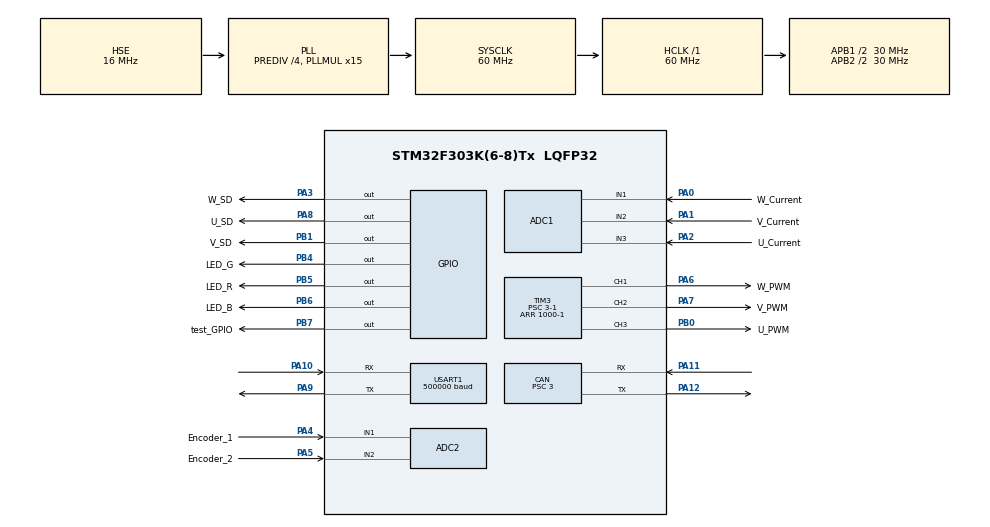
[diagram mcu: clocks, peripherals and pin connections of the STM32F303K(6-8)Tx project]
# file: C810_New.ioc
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ADC1.Channel-0\#ChannelRegularConversion=ADC_CHANNEL_1
ADC1.ContinuousConvMode=DISABLE
ADC1.DMAContinuousRequests=DISABLE
ADC1.NbrOfConversion=1
ADC1.NbrOfConversionFlag=1
ADC1.Offset-0\#ChannelRegularConversion=0
ADC1.OffsetNumber-0\#ChannelRegularConversion=ADC_OFFSET_NONE
ADC1.Rank-0\#ChannelRegularConversion=1
ADC1.SamplingTime-0\#ChannelRegularConversion=ADC_SAMPLETIME_1CYCLE_5
ADC1.SubFamily=STM32F303x8
ADC1.master=1
ADC2.Channel-0\#ChannelRegularConversion=ADC_CHANNEL_1
ADC2.NbrOfConversionFlag=1
ADC2.Offset-0\#ChannelRegularConversion=0
ADC2.OffsetNumber-0\#ChannelRegularConversion=ADC_OFFSET_NONE
ADC2.Rank-0\#ChannelRegularConversion=1
ADC2.SamplingTime-0\#ChannelRegularConversion=ADC_SAMPLETIME_1CYCLE_5
ADC2.SubFamily=STM32F303x8
CAN.BS1=CAN_BS1_7TQ
CAN.BS2=CAN_BS2_2TQ
CAN.CalculateBaudRate=1000000
CAN.CalculateTimeBit=1000
CAN.CalculateTimeQuantum=100.0
CAN.Prescaler=3
Mcu.Family=STM32F3
Mcu.Name=STM32F303K(6-8)Tx
Mcu.Package=LQFP32
NVIC.CAN_RX0_IRQn=true\:0\:0\:false\:false\:true\:true\:true\:true
NVIC.PriorityGroup=NVIC_PRIORITYGROUP_4
NVIC.TIM1_BRK_TIM15_IRQn=true\:0\:0\:false\:false\:true\:true\:true\:true
NVIC.TIM1_CC_IRQn=true\:0\:0\:false\:false\:true\:true\:true\:true
NVIC.TIM1_TRG_COM_TIM17_IRQn=true\:0\:0\:false\:false\:true\:true\:true\:true
NVIC.TIM1_UP_TIM16_IRQn=true\:0\:0\:false\:false\:true\:true\:true\:true
NVIC.TIM2_IRQn=true\:0\:0\:false\:false\:true\:true\:true\:true
PA0.GPIO_Label=W_Current
PA0.Mode=IN1-Single-Ended
PA0.Signal=ADC1_IN1
PA1.GPIO_Label=V_Current
PA1.Mode=IN2-Single-Ended
PA1.Signal=ADC1_IN2
PA10.Mode=Asynchronous
PA10.Signal=USART1_RX
PA11.Mode=CAN_Activate
PA11.Signal=CAN_RX
PA12.Mode=CAN_Activate
PA12.Signal=CAN_TX
PA13.Mode=Trace_Asynchronous_SW
PA13.Signal=SYS_JTMS-SWDIO
PA14.Mode=Trace_Asynchronous_SW
PA14.Signal=SYS_JTCK-SWCLK
PA2.GPIO_Label=U_Current
PA2.Mode=IN3-Single-Ended
PA2.Signal=ADC1_IN3
PA3.GPIO_Label=W_SD
PA3.Signal=GPIO_Output
PA4.GPIO_Label=Encoder_1
PA4.Mode=IN1-Single-Ended
PA4.Signal=ADC2_IN1
PA5.GPIO_Label=Encoder_2
PA5.Mode=IN2-Single-Ended
PA5.Signal=ADC2_IN2
PA6.GPIO_Label=W_PWM
PA6.Signal=S_TIM3_CH1
PA7.GPIO_Label=V_PWM
PA7.Signal=S_TIM3_CH2
PA8.GPIO_Label=U_SD
PA8.Signal=GPIO_Output
PA9.Mode=Asynchronous
PA9.Signal=USART1_TX
PB0.GPIO_Label=U_PWM
PB0.Signal=S_TIM3_CH3
PB1.GPIO_Label=V_SD
PB1.Signal=GPIO_Output
PB3.Mode=Trace_Asynchronous_SW
PB3.Signal=SYS_JTDO-TRACESWO
PB4.GPIO_Label=LED_G
PB4.Signal=GPIO_Output
PB5.GPIO_Label=LED_R
PB5.Signal=GPIO_Output
PB6.GPIO_Label=LED_B
PB6.Signal=GPIO_Output
PB7.GPIO_Label=test_GPIO
PB7.Signal=GPIO_Output
PF0\ /\ OSC_IN.Mode=HSE-External-Oscillator
PF0\ /\ OSC_IN.Signal=RCC_OSC_IN
PF1\ /\ OSC_OUT.Mode=HSE-External-Oscillator
PF1\ /\ OSC_OUT.Signal=RCC_OSC_OUT
ProjectManager.HeapSize=0x200
ProjectManager.StackSize=0x400
ProjectManager.TargetToolchain=STM32CubeIDE
RCC.AHBFreq_Value=60000000
RCC.APB1CLKDivider=RCC_HCLK_DIV2
RCC.APB1Freq_Value=30000000
RCC.APB1TimFreq_Value=60000000
RCC.APB2CLKDivider=RCC_HCLK_DIV2
RCC.APB2Freq_Value=30000000
RCC.APB2TimFreq_Value=60000000
RCC.CortexFreq_Value=60000000
RCC.HCLKFreq_Value=60000000
RCC.HSE_VALUE=16000000
RCC.HSI_VALUE=8000000
RCC.PLLMUL=RCC_PLL_MUL15
RCC.PLLSourceVirtual=RCC_PLLSOURCE_HSE
RCC.RCC_PLLsource_Clock_Source_FROM_HSE=RCC_HSE_PREDIV_DIV4
RCC.SYSCLKFreq_VALUE=60000000
RCC.SYSCLKSourceVirtual=RCC_SYSCLKSOURCE_PLLCLK
SH.S_TIM3_CH1.0=TIM3_CH1,PWM Generation1 CH1
SH.S_TIM3_CH2.0=TIM3_CH2,PWM Generation2 CH2
SH.S_TIM3_CH3.0=TIM3_CH3,PWM Generation3 CH3
TIM1.Period=1000-1
TIM1.Prescaler=6000-1
TIM2.Period=1000-1
TIM2.Prescaler=6-1
TIM3.Channel-PWM\ Generation1\ CH1=TIM_CHANNEL_1
TIM3.Channel-PWM\ Generation2\ CH2=TIM_CHANNEL_2
TIM3.Channel-PWM\ Generation3\ CH3=TIM_CHANNEL_3
TIM3.Period=1000-1
TIM3.Prescaler=3-1
USART1.BaudRate=500000
USART1.VirtualMode-Asynchronous=VM_ASYNC
VP_TIM1_VS_ClockSourceINT.Mode=Internal
VP_TIM2_VS_ClockSourceINT.Mode=Internal
VP_TIM3_VS_ClockSourceINT.Mode=Internal
board=custom

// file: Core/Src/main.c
/* USER CODE BEGIN Header */
/**
  ******************************************************************************
  * @file           : main.c
  * @brief          : Main program body
  ******************************************************************************
  * @attention
  *
  * Copyright (c) 2025 STMicroelectronics.
  * All rights reserved.
  *
  * This software is licensed under terms that can be found in the LICENSE file
  * in the root directory of this software component.
  * If no LICENSE file comes with this software, it is provided AS-IS.
  *
  ******************************************************************************
  */
/* USER CODE END Header */
#include "main.h"

/* USER CODE BEGIN Includes */

#include "stdio.h"
#include "math.h"
#include "stdlib.h"
#include "stdbool.h"
#include "string.h"

/* USER CODE END Includes */

/* USER CODE BEGIN PTD */

ADC_ChannelConfTypeDef ADC1_Config = {0};
ADC_ChannelConfTypeDef ADC2_Config = {0};

typedef struct PI_value{
	float kp;
	float ki;
	float goal;
	float now_value;
	float error;
	float error_integral;
	float integral_limit;
}PI_t;

/* USER CODE END PTD */

/* USER CODE BEGIN PD */

//PWMの使用タイマ
#define MOTOR_PWM_TIMER htim3
//各チャンネル
#define U_PHASE_PWM_CHANNEL TIM_CHANNEL_3
#define V_PHASE_PWM_CHANNEL TIM_CHANNEL_2
#define W_PHASE_PWM_CHANNEL TIM_CHANNEL_1

//PWM出力関数
#define SET_PWM_DUTY(PHASE, DUTY) __HAL_TIM_SET_COMPARE(&MOTOR_PWM_TIMER, PHASE##_PHASE_PWM_CHANNEL, DUTY)

// PI 定数
#define PI 3.14159265f

/* USER CODE END PD */

ADC_HandleTypeDef hadc1;
ADC_HandleTypeDef hadc2;

CAN_HandleTypeDef hcan;

TIM_HandleTypeDef htim1;
TIM_HandleTypeDef htim2;
TIM_HandleTypeDef htim3;

UART_HandleTypeDef huart1;

/* USER CODE BEGIN PV */

//制御周期生成用フラグ
volatile bool tim2_intrupt_flag = false;
volatile bool tim1_intrupt_flag = false;

/*	強制転流用変数		*/
//#define sin_num 1000
//
//float sin_table[sin_num] = {0};
//
//float one_step = 0.0;
//int loop_count = 0;
//#define max_duty 530
//#define min_duty 470

/*	センサ用変数	*/
float ADC_sin = 0.0; //max:1.597216 min:0.382784
float ADC_cos = 0.0; //max:1.619780 min:0.355385

float ADC_sin_max = 1.597216;
float ADC_sin_min = 0.382784;
float ADC_cos_max = 1.619780;
float ADC_cos_min = 0.355385;

//float ADC_sin_max = 0.0;
//float ADC_sin_min = 3.3;
//float ADC_cos_max = 0.0;
//float ADC_cos_min = 3.3;

//現在の電流センサからの電圧値
uint16_t U_voltage = 0;
uint16_t V_voltage = 0;
uint16_t W_voltage = 0;

//初期化時の電流センサからの電圧値
uint32_t U_voltage_init = 0;
uint32_t V_voltage_init = 0;
uint32_t W_voltage_init = 0;

//現在の電流値
float U_Current_now = 0.0;
float V_Current_now = 0.0;
float W_Current_now = 0.0;

/*	移動平均用の変数	*/
#define sample_num 2	//移動平均のサンプル数

//サンプル値の格納配列
float U_Current_samples[sample_num] = {0};
float V_Current_samples[sample_num] = {0};
float W_Current_samples[sample_num] = {0};

//サンプル値の総和
float U_Current_sum = 0.0;
float V_Current_sum = 0.0;
float W_Current_sum = 0.0;

//サンプル値の平均
float U_Current_ave = 0.0;
float V_Current_ave = 0.0;
float W_Current_ave = 0.0;

//リアル値
float U_Current_real = 0.0;
float V_Current_real = 0.0;
float W_Current_real = 0.0;

//合計の電流値
float Current_SUM = 0.0;

/* ベクトル制御用変数 */
//dq電流
float Id = 0.0;
float Iq = 0.0;

//αβ電流
float Ia = 0.0;
float Ib = 0.0;

//dq電圧
float Vd = 0.0;
float Vq = 0.0;

//αβ電圧
float Va = 0.0;
float Vb = 0.0;

//PWM
int U_PWM = 0;
int V_PWM = 0;
int W_PWM = 0;

//PI制御用構造体
PI_t Id_PI;
PI_t Iq_PI;

/* USER CODE END PV */

void SystemClock_Config(void);
static void MX_GPIO_Init(void);
static void MX_ADC1_Init(void);
static void MX_ADC2_Init(void);
static void MX_CAN_Init(void);
static void MX_TIM3_Init(void);
static void MX_USART1_UART_Init(void);
static void MX_TIM2_Init(void);
static void MX_TIM1_Init(void);

/* USER CODE BEGIN 0 */

//mapf関数
float mapf(float x, float in_min, float in_max, float out_min, float out_max) {
	return((x - in_min) * (out_max - out_min) / (in_max - in_min) + out_min);
}

//sinテーブルを生成
//void sin_table_generate(){
//	//1要素あたりに進むラジアン角を計算
//	one_step = (2 * PI) / sin_num;
//
//	//サインテーブルを生成
//	for(int i = 0; i < sin_num; i++){
//		sin_table[i] = sinf(i * one_step);
//	}
//
//}

//clarke変換
void clarke_transform(){
	Ia = U_Current_real;
	Ib = (U_Current_real + 2 * V_Current_real) / sqrtf(3.0);
}

//park変換
void park_transform(){
	Id = Ia * ADC_cos + Ib * ADC_sin;
	Iq = -Ia * ADC_sin + Ib * ADC_cos;

	Id_PI.now_value = Id;
	Iq_PI.now_value = Iq;
}

//逆clarke変換
void inv_clarke_transform(){
	U_PWM = (int)Va;
	V_PWM = (int)((sqrtf(3.0) * Vb - Va) / 2);
	W_PWM = (int)((-sqrtf(3.0) * Vb - Va) / 2);
}

//逆park変換
void inv_park_transform(){
	Va = Vd * ADC_cos - Vq * ADC_sin;
	Vb = Vd * ADC_sin + Vq * ADC_cos;
}

//PI制御
float PI_Control(PI_t *hPI){
	hPI->error = hPI->goal - hPI->now_value;
	hPI->error_integral += hPI->error;

	if(hPI->ki != 0){
		if(hPI->error_integral * hPI->ki > hPI->integral_limit){
			hPI->error_integral = hPI->integral_limit / hPI->ki;
		}
		else if(hPI->error_integral * hPI->ki < -hPI->integral_limit){
			hPI->error_integral = -hPI->integral_limit / hPI->ki;
		}
	}

	return (hPI->kp * hPI->error + hPI->ki * hPI->error_integral);
}

//初期化時の電流センサの出力電圧を計算
void init_voltage_sensing(){
	for(int i = 0; i < 30; i++){
		//U相の電流値を取得
		ADC1_Config.Channel = ADC_CHANNEL_3;
		HAL_ADC_ConfigChannel(&hadc1, &ADC1_Config);
		HAL_ADC_Start(&hadc1);
		HAL_ADC_PollForConversion(&hadc1, 10);
		U_voltage_init += HAL_ADC_GetValue(&hadc1);
		HAL_ADC_Stop(&hadc1);

		//V相の電流値を取得
		ADC1_Config.Channel = ADC_CHANNEL_2;
		HAL_ADC_ConfigChannel(&hadc1, &ADC1_Config);
		HAL_ADC_Start(&hadc1);
		HAL_ADC_PollForConversion(&hadc1, 10);
		V_voltage_init += HAL_ADC_GetValue(&hadc1);
		HAL_ADC_Stop(&hadc1);

		//W相の電流値を取得
		ADC1_Config.Channel = ADC_CHANNEL_1;
		HAL_ADC_ConfigChannel(&hadc1, &ADC1_Config);
		HAL_ADC_Start(&hadc1);
		HAL_ADC_PollForConversion(&hadc1, 10);
		W_voltage_init += HAL_ADC_GetValue(&hadc1);
		HAL_ADC_Stop(&hadc1);
	}

	U_voltage_init = U_voltage_init / 30;
	V_voltage_init = V_voltage_init / 30;
	W_voltage_init = W_voltage_init / 30;
}

//各相の電流を計算
void current_sensing(){
	//U相の電流値を取得
	ADC1_Config.Channel = ADC_CHANNEL_3;
	HAL_ADC_ConfigChannel(&hadc1, &ADC1_Config);
	HAL_ADC_Start(&hadc1);
	HAL_ADC_PollForConversion(&hadc1, 10);
	U_voltage = HAL_ADC_GetValue(&hadc1);
	HAL_ADC_Stop(&hadc1);

	//V相の電流値を取得
	ADC1_Config.Channel = ADC_CHANNEL_2;
	HAL_ADC_ConfigChannel(&hadc1, &ADC1_Config);
	HAL_ADC_Start(&hadc1);
	HAL_ADC_PollForConversion(&hadc1, 10);
	V_voltage = HAL_ADC_GetValue(&hadc1);
	HAL_ADC_Stop(&hadc1);

	//W相の電流値を取得
	ADC1_Config.Channel = ADC_CHANNEL_1;
	HAL_ADC_ConfigChannel(&hadc1, &ADC1_Config);
	HAL_ADC_Start(&hadc1);
	HAL_ADC_PollForConversion(&hadc1, 10);
	W_voltage = HAL_ADC_GetValue(&hadc1);
	HAL_ADC_Stop(&hadc1);

	//現在の電流値を算出
	U_Current_now = (((float)U_voltage - (float)U_voltage_init) * (3.3/4095)) / 0.05;
	V_Current_now = (((float)V_voltage - (float)V_voltage_init) * (3.3/4095)) / 0.05;
	W_Current_now = (((float)W_voltage - (float)W_voltage_init) * (3.3/4095)) / 0.05;

	/*	移動平均を計算	  */

	//サンプルの値を一つずらす
	for(int i = 0; i < sample_num-1; i++){
	  U_Current_samples[i] = U_Current_samples[i + 1];
	  V_Current_samples[i] = V_Current_samples[i + 1];
	  W_Current_samples[i] = W_Current_samples[i + 1];
	}

	//新しい値(現在の電流値)を最新の値として代入
	U_Current_samples[sample_num - 1] = U_Current_now;
	V_Current_samples[sample_num - 1] = V_Current_now;
	W_Current_samples[sample_num - 1] = W_Current_now;

	//サンプルの総和を初期化
	U_Current_sum = 0;
	V_Current_sum = 0;
	W_Current_sum = 0;

	//サンプルの総和を計算
	for(int i = 0; i < sample_num; i++){
	  U_Current_sum += U_Current_samples[i];
	  V_Current_sum += V_Current_samples[i];
	  W_Current_sum += W_Current_samples[i];
	}

	//サンプル内の平均値を計算
	U_Current_ave = U_Current_sum / sample_num;
	V_Current_ave = V_Current_sum / sample_num;
	W_Current_ave = W_Current_sum / sample_num;

	//移動平均の結果のUVWの総和電流を3相ブリッジに流れ込む電流の現在値として計算
	Current_SUM = U_Current_ave + V_Current_ave + W_Current_ave;

	//3総電流を導出
	U_Current_real = U_Current_ave;
	V_Current_real = V_Current_ave;
//	W_Current_real = -U_Current_real - V_Current_real;
	W_Current_real = W_Current_ave;

}

//電気角の取得
void degree_sensing(){
	//電気角(sin)の値を取得
	ADC2_Config.Channel = ADC_CHANNEL_1;
	HAL_ADC_ConfigChannel(&hadc2, &ADC2_Config);
	HAL_ADC_Start(&hadc2);
	HAL_ADC_PollForConversion(&hadc2, 10);
	ADC_sin = HAL_ADC_GetValue(&hadc2);
	HAL_ADC_Stop(&hadc2);

	//電気角(cos)の値を取得
	ADC2_Config.Channel = ADC_CHANNEL_2;
	HAL_ADC_ConfigChannel(&hadc2, &ADC2_Config);
	HAL_ADC_Start(&hadc2);
	HAL_ADC_PollForConversion(&hadc2, 10);
	ADC_cos = HAL_ADC_GetValue(&hadc2);
	HAL_ADC_Stop(&hadc2);

	ADC_sin = mapf(ADC_sin, 0, 4095, 0, 3.3);
	ADC_cos = mapf(ADC_cos, 0, 4095, 0, 3.3);

	ADC_sin = (ADC_sin - ADC_sin_min - (ADC_sin_max - ADC_sin_min)/2) / ((ADC_sin_max - ADC_sin_min)/2);
	ADC_cos = (ADC_cos - ADC_cos_min - (ADC_cos_max - ADC_cos_min)/2) / ((ADC_cos_max - ADC_cos_min)/2);

	/*  エンコーダーのmax,min測定用	 */
//	if(ADC_sin_max < ADC_sin){
//		ADC_sin_max = ADC_sin;
//	}
//
//	if(ADC_sin_min > ADC_sin){
//		ADC_sin_min = ADC_sin;
//	}
//
//	if(ADC_cos_max < ADC_cos){
//		ADC_cos_max = ADC_cos;
//	}
//
//	if(ADC_cos_min > ADC_cos){
//		ADC_cos_min = ADC_cos;
//	}
}

//タイマ割り込み関数
void HAL_TIM_PeriodElapsedCallback(TIM_HandleTypeDef *htim)
{
    if (htim == &htim2){
    	tim2_intrupt_flag = true;
    }

    if(htim == &htim1){
    	tim1_intrupt_flag = true;
    }
}

//printfの中身
int _write(int file, char *ptr, int len)
{
  HAL_UART_Transmit(&huart1,(uint8_t *)ptr,len,10);
  return len;
}

/* USER CODE END 0 */

int main(void)
{

  /* USER CODE BEGIN 1 */
  setbuf(stdout, NULL);
  /* USER CODE END 1 */

  /* MCU Configuration--------------------------------------------------------*/

  /* Reset of all peripherals, Initializes the Flash interface and the Systick. */
  HAL_Init();

  /* Configure the system clock */
  SystemClock_Config();

  /* Initialize all configured peripherals */
  MX_GPIO_Init();
  MX_ADC1_Init();
  MX_ADC2_Init();
  MX_CAN_Init();
  MX_TIM3_Init();
  MX_USART1_UART_Init();
  MX_TIM2_Init();
  MX_TIM1_Init();
  /* USER CODE BEGIN 2 */

  //ADCキャリブレーション
  HAL_ADCEx_Calibration_Start(&hadc1, ADC_SINGLE_ENDED);
  HAL_ADCEx_Calibration_Start(&hadc2, ADC_SINGLE_ENDED);

  //タイマ割り込みスタート
  HAL_TIM_Base_Start_IT(&htim2);
  HAL_TIM_Base_Start_IT(&htim1);

  //タイマースタート
  HAL_TIM_PWM_Start(&MOTOR_PWM_TIMER, U_PHASE_PWM_CHANNEL);
  HAL_TIM_PWM_Start(&MOTOR_PWM_TIMER, V_PHASE_PWM_CHANNEL);
  HAL_TIM_PWM_Start(&MOTOR_PWM_TIMER, W_PHASE_PWM_CHANNEL);

  //IR2302のShutDownを解除
  HAL_GPIO_WritePin(U_SD_GPIO_Port, U_SD_Pin, SET);
  HAL_GPIO_WritePin(V_SD_GPIO_Port, V_SD_Pin, SET);
  HAL_GPIO_WritePin(W_SD_GPIO_Port, W_SD_Pin, SET);

  //すべてのDuty比を0.5に
  SET_PWM_DUTY(U, 500);
  SET_PWM_DUTY(V, 500);
  SET_PWM_DUTY(W, 500);

  //ADCの初期値を取得
  init_voltage_sensing();

  //d軸電流のパラメータを設定
  Id_PI.goal = 0.0;
  Id_PI.kp = 0.5;
  Id_PI.ki = 0.1;
  Id_PI.integral_limit = 100;

  //q軸電流のパラメータを設定
  Iq_PI.goal = 1.0;
  Iq_PI.kp = 0.5;
  Iq_PI.ki = 0.1;
  Iq_PI.integral_limit = 100;

  /* USER CODE END 2 */

  /* Infinite loop */
  while (1)
  {

    /* USER CODE BEGIN 3 */
	  if(tim2_intrupt_flag){
		  //M2006から角度取得
		  degree_sensing();
		  //Iu,Iv,Iwを計測
		  current_sensing();
		  //Iu,Iv,Iw -> Iα,Iβ
		  clarke_transform();
		  //Iα,Iβ -> Id,Iq
		  park_transform();

		  //Id,IqをPI制御
		  Vd = PI_Control(&Id_PI);
		  Vq = PI_Control(&Iq_PI);

		  //Vd,Vq -> Vα,Vβ
		  inv_park_transform();
		  //Vα,Vβ -> Iu,Iv,Iw
		  inv_clarke_transform();

		  //PWMをセット
		  SET_PWM_DUTY(U, 500 + U_PWM);
		  SET_PWM_DUTY(V, 500 + V_PWM);
		  SET_PWM_DUTY(W, 500 + W_PWM);
//		  printf("sin:%f cos:%f\r\n", ADC_sin, ADC_cos);

		  //割り込みのフラグをリセット
		  tim2_intrupt_flag = false;
	  }

	  if(tim1_intrupt_flag){
//		  Iq_PI.goal = Iq_PI.goal * -1;
//		  printf("Id:%.2f Iq:%.2f\r\n", Id, Iq);

		  //割り込みのフラグをリセット
		  tim1_intrupt_flag = false;
	  }

	  if(2 > Iq){
		  HAL_GPIO_WritePin(LED_R_GPIO_Port, LED_R_Pin, RESET);
		  HAL_GPIO_WritePin(LED_G_GPIO_Port, LED_G_Pin, RESET);
		  HAL_GPIO_WritePin(LED_B_GPIO_Port, LED_B_Pin, SET);
	  }

	  if(5 > Iq && Iq > 3){
		  HAL_GPIO_WritePin(LED_R_GPIO_Port, LED_R_Pin, SET);
		  HAL_GPIO_WritePin(LED_G_GPIO_Port, LED_G_Pin, SET);
		  HAL_GPIO_WritePin(LED_B_GPIO_Port, LED_B_Pin, RESET);
	  }

	  if(Iq > 5){
		  HAL_GPIO_WritePin(LED_R_GPIO_Port, LED_R_Pin, SET);
		  HAL_GPIO_WritePin(LED_G_GPIO_Port, LED_G_Pin, RESET);
		  HAL_GPIO_WritePin(LED_B_GPIO_Port, LED_B_Pin, RESET);
	  }

//	  printf("sin:%f cos:%f\r\n", ADC_sin, ADC_cos);
//	  printf("U:%f V:%f W:%f\r\n", U_Current_real, V_Current_real, W_Current_real);
//	  printf("U:%f V:%f W:%f\r\n", U_Current_now, V_Current_now, W_Current_now);
//	  printf("%d %d %d \r\n", U_voltage_init, V_voltage_init, W_voltage_init);
//	  printf("%f\r\n", Current_SUM);
//	  printf("Id:%f Iq:%f\r\n", Id, Iq);
//	  U_PWM = (int)(mapf(sin_table[(int)(loop_count%sin_num)], -1.0, 1.0, min_duty, max_duty));
//	  V_PWM = (int)(mapf(sin_table[(int)((loop_count + sin_num / 3)%(sin_num))], -1.0, 1.0, min_duty, max_duty));
//	  W_PWM = (int)(mapf(sin_table[(int)((loop_count + (sin_num * 2) / 3)%(sin_num))], -1.0, 1.0, min_duty, max_duty));

//	  SET_PWM_DUTY(U, U_PWM);
//	  SET_PWM_DUTY(V, V_PWM);
//	  SET_PWM_DUTY(W, W_PWM);
//	  loop_count = loop_count + 10;
  }
  /* USER CODE END 3 */
}

void SystemClock_Config(void)
{
  RCC_OscInitTypeDef RCC_OscInitStruct = {0};
  RCC_ClkInitTypeDef RCC_ClkInitStruct = {0};
  RCC_PeriphCLKInitTypeDef PeriphClkInit = {0};

  /** Initializes the RCC Oscillators according to the specified parameters
  * in the RCC_OscInitTypeDef structure.
  */
  RCC_OscInitStruct.OscillatorType = RCC_OSCILLATORTYPE_HSE;
  RCC_OscInitStruct.HSEState = RCC_HSE_ON;
  RCC_OscInitStruct.HSEPredivValue = RCC_HSE_PREDIV_DIV4;
  RCC_OscInitStruct.HSIState = RCC_HSI_ON;
  RCC_OscInitStruct.PLL.PLLState = RCC_PLL_ON;
  RCC_OscInitStruct.PLL.PLLSource = RCC_PLLSOURCE_HSE;
  RCC_OscInitStruct.PLL.PLLMUL = RCC_PLL_MUL15;
  if (HAL_RCC_OscConfig(&RCC_OscInitStruct) != HAL_OK)
  {
    Error_Handler();
  }

  /** Initializes the CPU, AHB and APB buses clocks
  */
  RCC_ClkInitStruct.ClockType = RCC_CLOCKTYPE_HCLK|RCC_CLOCKTYPE_SYSCLK
                              |RCC_CLOCKTYPE_PCLK1|RCC_CLOCKTYPE_PCLK2;
  RCC_ClkInitStruct.SYSCLKSource = RCC_SYSCLKSOURCE_PLLCLK;
  RCC_ClkInitStruct.AHBCLKDivider = RCC_SYSCLK_DIV1;
  RCC_ClkInitStruct.APB1CLKDivider = RCC_HCLK_DIV2;
  RCC_ClkInitStruct.APB2CLKDivider = RCC_HCLK_DIV2;

  if (HAL_RCC_ClockConfig(&RCC_ClkInitStruct, FLASH_LATENCY_2) != HAL_OK)
  {
    Error_Handler();
  }
  PeriphClkInit.PeriphClockSelection = RCC_PERIPHCLK_USART1|RCC_PERIPHCLK_TIM1
                              |RCC_PERIPHCLK_ADC12;
  PeriphClkInit.Usart1ClockSelection = RCC_USART1CLKSOURCE_PCLK1;
  PeriphClkInit.Adc12ClockSelection = RCC_ADC12PLLCLK_DIV1;
  PeriphClkInit.Tim1ClockSelection = RCC_TIM1CLK_HCLK;
  if (HAL_RCCEx_PeriphCLKConfig(&PeriphClkInit) != HAL_OK)
  {
    Error_Handler();
  }
}

static void MX_ADC1_Init(void)
{

  ADC_MultiModeTypeDef multimode = {0};
  ADC_ChannelConfTypeDef sConfig = {0};

  /** Common config
  */
  hadc1.Instance = ADC1;
  hadc1.Init.ClockPrescaler = ADC_CLOCK_ASYNC_DIV1;
  hadc1.Init.Resolution = ADC_RESOLUTION_12B;
  hadc1.Init.ScanConvMode = ADC_SCAN_DISABLE;
  hadc1.Init.ContinuousConvMode = DISABLE;
  hadc1.Init.DiscontinuousConvMode = DISABLE;
  hadc1.Init.ExternalTrigConvEdge = ADC_EXTERNALTRIGCONVEDGE_NONE;
  hadc1.Init.ExternalTrigConv = ADC_SOFTWARE_START;
  hadc1.Init.DataAlign = ADC_DATAALIGN_RIGHT;
  hadc1.Init.NbrOfConversion = 1;
  hadc1.Init.DMAContinuousRequests = DISABLE;
  hadc1.Init.EOCSelection = ADC_EOC_SINGLE_CONV;
  hadc1.Init.LowPowerAutoWait = DISABLE;
  hadc1.Init.Overrun = ADC_OVR_DATA_OVERWRITTEN;
  if (HAL_ADC_Init(&hadc1) != HAL_OK)
  {
    Error_Handler();
  }

  /** Configure the ADC multi-mode
  */
  multimode.Mode = ADC_MODE_INDEPENDENT;
  if (HAL_ADCEx_MultiModeConfigChannel(&hadc1, &multimode) != HAL_OK)
  {
    Error_Handler();
  }

  /** Configure Regular Channel
  */
  sConfig.Channel = ADC_CHANNEL_1;
  sConfig.Rank = ADC_REGULAR_RANK_1;
  sConfig.SingleDiff = ADC_SINGLE_ENDED;
  sConfig.SamplingTime = ADC_SAMPLETIME_1CYCLE_5;
  sConfig.OffsetNumber = ADC_OFFSET_NONE;
  sConfig.Offset = 0;
  if (HAL_ADC_ConfigChannel(&hadc1, &sConfig) != HAL_OK)
  {
    Error_Handler();
  }
  /* USER CODE BEGIN ADC1_Init 2 */
  ADC1_Config = sConfig;
  /* USER CODE END ADC1_Init 2 */

}

static void MX_ADC2_Init(void)
{

  ADC_ChannelConfTypeDef sConfig = {0};

  /** Common config
  */
  hadc2.Instance = ADC2;
  hadc2.Init.ClockPrescaler = ADC_CLOCK_ASYNC_DIV1;
  hadc2.Init.Resolution = ADC_RESOLUTION_12B;
  hadc2.Init.ScanConvMode = ADC_SCAN_DISABLE;
  hadc2.Init.ContinuousConvMode = DISABLE;
  hadc2.Init.DiscontinuousConvMode = DISABLE;
  hadc2.Init.ExternalTrigConvEdge = ADC_EXTERNALTRIGCONVEDGE_NONE;
  hadc2.Init.ExternalTrigConv = ADC_SOFTWARE_START;
  hadc2.Init.DataAlign = ADC_DATAALIGN_RIGHT;
  hadc2.Init.NbrOfConversion = 1;
  hadc2.Init.DMAContinuousRequests = DISABLE;
  hadc2.Init.EOCSelection = ADC_EOC_SINGLE_CONV;
  hadc2.Init.LowPowerAutoWait = DISABLE;
  hadc2.Init.Overrun = ADC_OVR_DATA_OVERWRITTEN;
  if (HAL_ADC_Init(&hadc2) != HAL_OK)
  {
    Error_Handler();
  }

  /** Configure Regular Channel
  */
  sConfig.Channel = ADC_CHANNEL_1;
  sConfig.Rank = ADC_REGULAR_RANK_1;
  sConfig.SingleDiff = ADC_SINGLE_ENDED;
  sConfig.SamplingTime = ADC_SAMPLETIME_1CYCLE_5;
  sConfig.OffsetNumber = ADC_OFFSET_NONE;
  sConfig.Offset = 0;
  if (HAL_ADC_ConfigChannel(&hadc2, &sConfig) != HAL_OK)
  {
    Error_Handler();
  }
  /* USER CODE BEGIN ADC2_Init 2 */
  ADC2_Config = sConfig;
  /* USER CODE END ADC2_Init 2 */

}

static void MX_CAN_Init(void)
{

  hcan.Instance = CAN;
  hcan.Init.Prescaler = 3;
  hcan.Init.Mode = CAN_MODE_NORMAL;
  hcan.Init.SyncJumpWidth = CAN_SJW_1TQ;
  hcan.Init.TimeSeg1 = CAN_BS1_7TQ;
  hcan.Init.TimeSeg2 = CAN_BS2_2TQ;
  hcan.Init.TimeTriggeredMode = DISABLE;
  hcan.Init.AutoBusOff = DISABLE;
  hcan.Init.AutoWakeUp = DISABLE;
  hcan.Init.AutoRetransmission = DISABLE;
  hcan.Init.ReceiveFifoLocked = DISABLE;
  hcan.Init.TransmitFifoPriority = DISABLE;
  if (HAL_CAN_Init(&hcan) != HAL_OK)
  {
    Error_Handler();
  }

}

static void MX_TIM1_Init(void)
{

  TIM_ClockConfigTypeDef sClockSourceConfig = {0};
  TIM_MasterConfigTypeDef sMasterConfig = {0};

  htim1.Instance = TIM1;
  htim1.Init.Prescaler = 6000-1;
  htim1.Init.CounterMode = TIM_COUNTERMODE_UP;
  htim1.Init.Period = 1000-1;
  htim1.Init.ClockDivision = TIM_CLOCKDIVISION_DIV1;
  htim1.Init.RepetitionCounter = 0;
  htim1.Init.AutoReloadPreload = TIM_AUTORELOAD_PRELOAD_DISABLE;
  if (HAL_TIM_Base_Init(&htim1) != HAL_OK)
  {
    Error_Handler();
  }
  sClockSourceConfig.ClockSource = TIM_CLOCKSOURCE_INTERNAL;
  if (HAL_TIM_ConfigClockSource(&htim1, &sClockSourceConfig) != HAL_OK)
  {
    Error_Handler();
  }
  sMasterConfig.MasterOutputTrigger = TIM_TRGO_RESET;
  sMasterConfig.MasterOutputTrigger2 = TIM_TRGO2_RESET;
  sMasterConfig.MasterSlaveMode = TIM_MASTERSLAVEMODE_DISABLE;
  if (HAL_TIMEx_MasterConfigSynchronization(&htim1, &sMasterConfig) != HAL_OK)
  {
    Error_Handler();
  }

}

static void MX_TIM2_Init(void)
{

  TIM_ClockConfigTypeDef sClockSourceConfig = {0};
  TIM_MasterConfigTypeDef sMasterConfig = {0};

  htim2.Instance = TIM2;
  htim2.Init.Prescaler = 6-1;
  htim2.Init.CounterMode = TIM_COUNTERMODE_UP;
  htim2.Init.Period = 1000-1;
  htim2.Init.ClockDivision = TIM_CLOCKDIVISION_DIV1;
  htim2.Init.AutoReloadPreload = TIM_AUTORELOAD_PRELOAD_DISABLE;
  if (HAL_TIM_Base_Init(&htim2) != HAL_OK)
  {
    Error_Handler();
  }
  sClockSourceConfig.ClockSource = TIM_CLOCKSOURCE_INTERNAL;
  if (HAL_TIM_ConfigClockSource(&htim2, &sClockSourceConfig) != HAL_OK)
  {
    Error_Handler();
  }
  sMasterConfig.MasterOutputTrigger = TIM_TRGO_RESET;
  sMasterConfig.MasterSlaveMode = TIM_MASTERSLAVEMODE_DISABLE;
  if (HAL_TIMEx_MasterConfigSynchronization(&htim2, &sMasterConfig) != HAL_OK)
  {
    Error_Handler();
  }

}

static void MX_TIM3_Init(void)
{

  TIM_ClockConfigTypeDef sClockSourceConfig = {0};
  TIM_MasterConfigTypeDef sMasterConfig = {0};
  TIM_OC_InitTypeDef sConfigOC = {0};

  htim3.Instance = TIM3;
  htim3.Init.Prescaler = 3-1;
  htim3.Init.CounterMode = TIM_COUNTERMODE_UP;
  htim3.Init.Period = 1000-1;
  htim3.Init.ClockDivision = TIM_CLOCKDIVISION_DIV1;
  htim3.Init.AutoReloadPreload = TIM_AUTORELOAD_PRELOAD_DISABLE;
  if (HAL_TIM_Base_Init(&htim3) != HAL_OK)
  {
    Error_Handler();
  }
  sClockSourceConfig.ClockSource = TIM_CLOCKSOURCE_INTERNAL;
  if (HAL_TIM_ConfigClockSource(&htim3, &sClockSourceConfig) != HAL_OK)
  {
    Error_Handler();
  }
  if (HAL_TIM_PWM_Init(&htim3) != HAL_OK)
  {
    Error_Handler();
  }
  sMasterConfig.MasterOutputTrigger = TIM_TRGO_RESET;
  sMasterConfig.MasterSlaveMode = TIM_MASTERSLAVEMODE_DISABLE;
  if (HAL_TIMEx_MasterConfigSynchronization(&htim3, &sMasterConfig) != HAL_OK)
  {
    Error_Handler();
  }
  sConfigOC.OCMode = TIM_OCMODE_PWM1;
  sConfigOC.Pulse = 0;
  sConfigOC.OCPolarity = TIM_OCPOLARITY_HIGH;
  sConfigOC.OCFastMode = TIM_OCFAST_DISABLE;
  if (HAL_TIM_PWM_ConfigChannel(&htim3, &sConfigOC, TIM_CHANNEL_1) != HAL_OK)
  {
    Error_Handler();
  }
  if (HAL_TIM_PWM_ConfigChannel(&htim3, &sConfigOC, TIM_CHANNEL_2) != HAL_OK)
  {
    Error_Handler();
  }
  if (HAL_TIM_PWM_ConfigChannel(&htim3, &sConfigOC, TIM_CHANNEL_3) != HAL_OK)
  {
    Error_Handler();
  }
  HAL_TIM_MspPostInit(&htim3);

}

static void MX_USART1_UART_Init(void)
{

  huart1.Instance = USART1;
  huart1.Init.BaudRate = 500000;
  huart1.Init.WordLength = UART_WORDLENGTH_8B;
  huart1.Init.StopBits = UART_STOPBITS_1;
  huart1.Init.Parity = UART_PARITY_NONE;
  huart1.Init.Mode = UART_MODE_TX_RX;
  huart1.Init.HwFlowCtl = UART_HWCONTROL_NONE;
  huart1.Init.OverSampling = UART_OVERSAMPLING_16;
  huart1.Init.OneBitSampling = UART_ONE_BIT_SAMPLE_DISABLE;
  huart1.AdvancedInit.AdvFeatureInit = UART_ADVFEATURE_NO_INIT;
  if (HAL_UART_Init(&huart1) != HAL_OK)
  {
    Error_Handler();
  }

}

static void MX_GPIO_Init(void)
{
  GPIO_InitTypeDef GPIO_InitStruct = {0};

  /* GPIO Ports Clock Enable */
  __HAL_RCC_GPIOF_CLK_ENABLE();
  __HAL_RCC_GPIOA_CLK_ENABLE();
  __HAL_RCC_GPIOB_CLK_ENABLE();

  /*Configure GPIO pin Output Level */
  HAL_GPIO_WritePin(GPIOA, W_SD_Pin|U_SD_Pin, GPIO_PIN_RESET);

  /*Configure GPIO pin Output Level */
  HAL_GPIO_WritePin(GPIOB, V_SD_Pin|LED_G_Pin|LED_R_Pin|LED_B_Pin
                          |test_GPIO_Pin, GPIO_PIN_RESET);

  /*Configure GPIO pins : W_SD_Pin U_SD_Pin */
  GPIO_InitStruct.Pin = W_SD_Pin|U_SD_Pin;
  GPIO_InitStruct.Mode = GPIO_MODE_OUTPUT_PP;
  GPIO_InitStruct.Pull = GPIO_NOPULL;
  GPIO_InitStruct.Speed = GPIO_SPEED_FREQ_LOW;
  HAL_GPIO_Init(GPIOA, &GPIO_InitStruct);

  /*Configure GPIO pins : V_SD_Pin LED_G_Pin LED_R_Pin LED_B_Pin
                           test_GPIO_Pin */
  GPIO_InitStruct.Pin = V_SD_Pin|LED_G_Pin|LED_R_Pin|LED_B_Pin
                          |test_GPIO_Pin;
  GPIO_InitStruct.Mode = GPIO_MODE_OUTPUT_PP;
  GPIO_InitStruct.Pull = GPIO_NOPULL;
  GPIO_InitStruct.Speed = GPIO_SPEED_FREQ_LOW;
  HAL_GPIO_Init(GPIOB, &GPIO_InitStruct);

}

void Error_Handler(void)
{
  /* USER CODE BEGIN Error_Handler_Debug */
  /* User can add his own implementation to report the HAL error return state */
  __disable_irq();
  while (1)
  {
	  HAL_GPIO_WritePin(LED_R_GPIO_Port, LED_R_Pin, SET);
	  printf("error\r\n");
  }
  /* USER CODE END Error_Handler_Debug */
}
